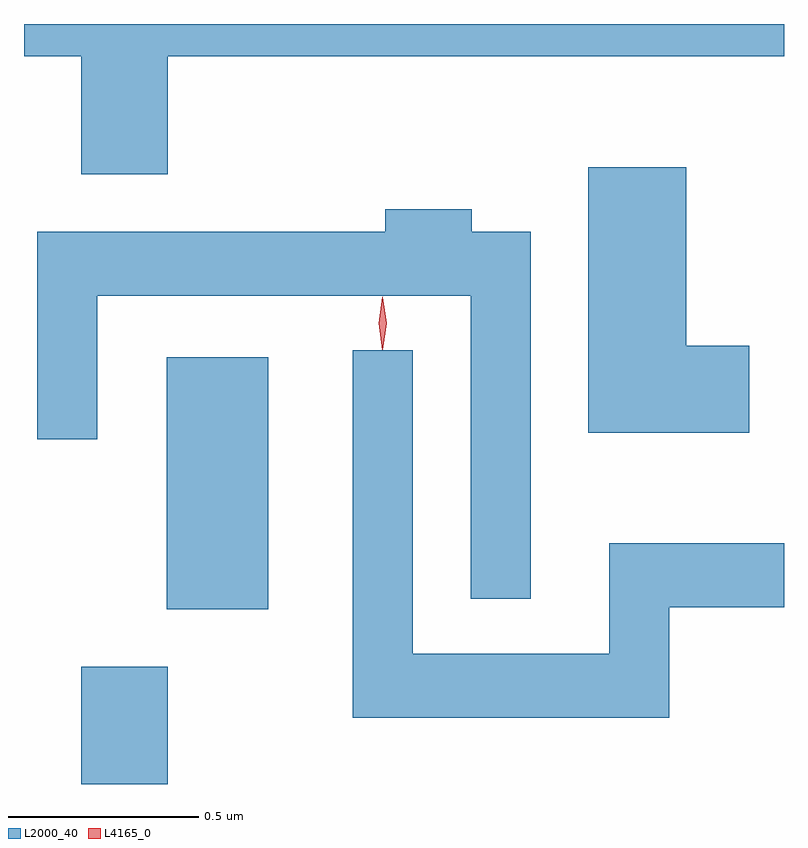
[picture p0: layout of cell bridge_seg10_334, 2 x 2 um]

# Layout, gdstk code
import gdstk
lib = gdstk.Library(unit=1e-6, precision=1e-09)
def R(c, l, rs):  # rectangles x0, y0, x1, y1
    for r in rs: c.add(gdstk.rectangle(r[:2], r[2:], *l))
def P(c, l, *ps):  # polygons
    for p in ps: c.add(gdstk.Polygon(p, *l))
L2000_40 = (2000, 40)
L4165_0 = (4165, 0)

bridge_seg10_334 = lib.new_cell('bridge_seg10_334')
R(bridge_seg10_334, L2000_40, [(1426.421,2176.381,1426.649,2176.689), (1426.646,2176.841,1426.914,2177.504)])
P(bridge_seg10_334, L2000_40, [(1426.649,2178.296),(1428.271,2178.296),(1428.271,2178.381),(1426.271,2178.381),(1426.271,2178.296),(1426.421,2178.296),(1426.421,2177.986),(1426.649,2177.986)],
  [(1428.179,2177.534),(1428.014,2177.534),(1428.014,2178.004),(1427.756,2178.004),(1427.756,2177.306),(1428.179,2177.306)],
  [(1427.604,2177.834),(1427.449,2177.834),(1427.449,2177.894),(1427.221,2177.894),(1427.221,2177.834),(1426.306,2177.834),(1426.306,2177.288),(1426.464,2177.288),(1426.464,2177.666),(1427.446,2177.666),(1427.446,2176.868),(1427.604,2176.868)],
  [(1427.969,2176.846),(1428.271,2176.846),(1428.271,2177.014),(1427.811,2177.014),(1427.811,2176.724),(1427.294,2176.724),(1427.294,2177.523),(1427.136,2177.523),(1427.136,2176.556),(1427.969,2176.556)])
P(bridge_seg10_334, L4165_0, [(1427.215,2177.527),(1427.214,2177.528),(1427.205,2177.594),(1427.214,2177.66),(1427.215,2177.66),(1427.215,2177.66),(1427.225,2177.594),(1427.215,2177.528)],
  [(1427.214,2177.524),(1427.205,2177.593),(1427.214,2177.662),(1427.215,2177.663),(1427.215,2177.662),(1427.225,2177.593),(1427.215,2177.524),(1427.215,2177.524)])

lib.write_gds('bridge_seg10_334.gds')
